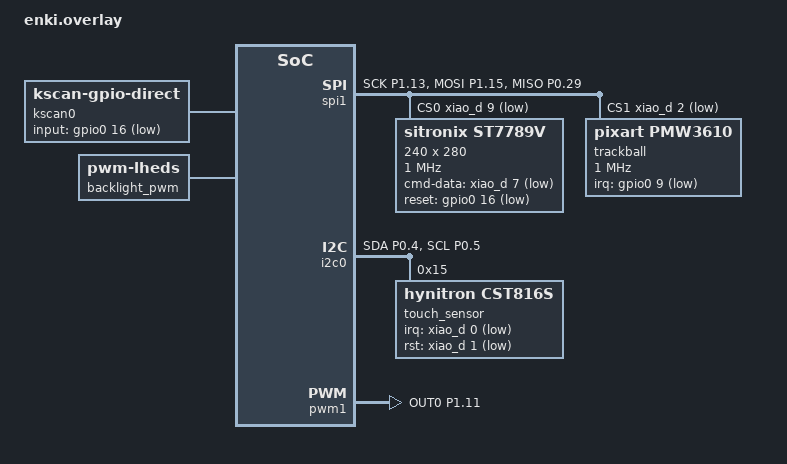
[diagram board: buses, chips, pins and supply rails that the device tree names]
#include <dt-bindings/zmk/matrix_transform.h>
#include <dt-bindings/input/input-event-codes.h>
#include <dt-bindings/pwm/pwm.h>
#include <physical_layouts.dtsi>

// Include input processor modules
#include <input/processors.dtsi>
#include <dt-bindings/zmk/input_transform.h>
#include <zephyr/dt-bindings/input/input-event-codes.h>

#include <behaviors/input_processor_gestures.dtsi>
#include <behaviors/input_processor_absolute_to_relative.dtsi>
#include <mouse-gesture.dtsi>

/ {
    aliases {
        enkibacklightpwm = &enki_backlight_pwm_led;
    };

    chosen {
        zephyr,display = &st7789v;
        zmk,kscan = &kscan0;
        zmk,physical-layout = &default_layout;
    };

    default_layout: default_layout {
        compatible = "zmk,physical-layout";
        display-name = "Enki Counter";
        transform = <&default_transform>;

        keys = <&key_physical_attrs 100 100 0 0 0 0 0>;
    };

    default_transform: keymap_transform_0 {
        compatible = "zmk,matrix-transform";
        columns = <1>;
        rows = <1>;
        map = <RC(0,0)>;
    };

    kscan0: kscan {
        compatible = "zmk,kscan-gpio-direct";
        wakeup-source;
        input-gpios = <&gpio0 16 (GPIO_ACTIVE_LOW | GPIO_PULL_UP)>;
    };

    backlight_pwm: backlight_pwm {
        compatible = "pwm-lheds";
        status = "okay";

        enki_backlight_pwm_led: enki_backlight_pwm_led {
            status = "okay";
            label = "ENKI_BACKLIGHT";
            pwms = <&pwm1 0 PWM_MSEC(10) PWM_POLARITY_INVERTED>;
        };
    };
};

&spi2 {
    status = "disabled";
};

&pinctrl {
    spi1_default: spi1_default {
        group1 {
            psels = <NRF_PSEL(SPIM_SCK, 1, 13)>,
                    <NRF_PSEL(SPIM_MOSI, 1, 15)>,
                    <NRF_PSEL(SPIM_MISO, 0, 29)>;
        };
    };

    spi1_sleep: spi1_sleep {
        group1 {
            psels = <NRF_PSEL(SPIM_SCK, 1, 13)>,
                    <NRF_PSEL(SPIM_MOSI, 1, 15)>,
                    <NRF_PSEL(SPIM_MISO, 0, 29)>;
            low-power-enable;
        };
    };

    pwm1_default: pwm1_default {
        group1 {
            psels = <NRF_PSEL(PWM_OUT0, 1, 11)>;  // Pin 6 (D6) = P1.11 = Backlight PWM
            nordic,invert;
        };
    };

    pwm1_sleep: pwm1_sleep {
        group1 {
            psels = <NRF_PSEL(PWM_OUT0, 1, 11)>;  // Pin 6 (D6) = P1.11 = Backlight PWM
            low-power-enable;
        };
    };

    i2c0_default: i2c0_default {
        group1 {
            psels = <NRF_PSEL(TWIM_SDA, 0, 4)>,
                    <NRF_PSEL(TWIM_SCL, 0, 5)>;
        };
    };

    i2c0_sleep: i2c0_sleep {
        group1 {
            psels = <NRF_PSEL(TWIM_SDA, 0, 4)>,
                    <NRF_PSEL(TWIM_SCL, 0, 5)>;
            low-power-enable;
        };
    };
};

&spi1 {
    status = "okay";
    pinctrl-0 = <&spi1_default>;
    pinctrl-1 = <&spi1_sleep>;
    pinctrl-names = "default", "sleep";
    cs-gpios = <&xiao_d 9 GPIO_ACTIVE_LOW>,
              <&xiao_d 2 GPIO_ACTIVE_LOW>;

    st7789v: st7789v@0 {
        compatible = "sitronix,st7789v";
        spi-max-frequency = <1000000>;
        reg = <0>;
        cmd-data-gpios = <&xiao_d 7 GPIO_ACTIVE_LOW>;
        reset-gpios = <&gpio0 16 GPIO_ACTIVE_LOW>;
        width = <240>;
        height = <280>;
        x-offset = <0>;
        y-offset = <20>;
        vcom = <0x19>;
        gctrl = <0x35>;
        vrhs = <0x12>;
        vdvs = <0x20>;
        mdac = <0x00>;
        gamma = <0x01>;
        colmod = <0x05>;
        lcm = <0x2c>;
        porch-param = [0c 0c 00 33 33];
        cmd2en-param = [5a 69 02 01];
        pwctrl1-param = [a4 a1];
        pvgam-param = [D0 04 0D 11 13 2B 3F 54 4C 18 0D 0B 1F 23];
        nvgam-param = [D0 04 0C 11 13 2C 3F 44 51 2F 1F 1F 20 23];
        ram-param = [00 F0];
        rgb-param = [CD 08 14];nh
    };

    trackball: trackball@1 {
        status = "okay";
        compatible = "pixart,pmw3610";
        reg = <1>;
        spi-max-frequency = <1000000>;
        irq-gpios = <&gpio0 9 (GPIO_ACTIVE_LOW | GPIO_PULL_UP)>;
        cpi = <800>;
        evt-type = <INPUT_EV_REL>;
        x-input-code = <INPUT_REL_X>;
        y-input-code = <INPUT_REL_Y>;
        force-awake;
    };
};

&i2c0 {
    status = "okay";
    pinctrl-0 = <&i2c0_default>;
    pinctrl-1 = <&i2c0_sleep>;
    pinctrl-names = "default", "sleep";

    touch_sensor: glidepoint: cst816s@15 {
        compatible = "hynitron,cst816s";
        reg = <0x15>;
        status = "okay";
        irq-gpios = <&xiao_d 0 (GPIO_ACTIVE_LOW | GPIO_PULL_UP)>;
        rst-gpios = <&xiao_d 1 GPIO_ACTIVE_LOW>;
    };
};

/ {
    touch_listener: touch_listener {
        compatible = "zmk,input-listener";
        device = <&touch_sensor>;
        status = "okay";
        input-processors = <
            &zip_gestures                                                  // Tap detection and trackpad gestures
            &zip_absolute_to_relative                                      // Convert absolute to relative coordinates
            &zip_xy_transform (INPUT_TRANSFORM_XY_SWAP | INPUT_TRANSFORM_Y_INVERT)  // Rotate 90° for display orientation
            &zip_xy_scaler 4 1                                            // 4x scaling for better cursor movement
            // &zip_temp_layer 1 200                                          // Auto-activate layer 1 for 200ms on movement
            &zip_mouse_gesture                                            // Gesture recognition
        >;
    };

    trackball_listener: trackball_listener {
        compatible = "zmk,input-listener";
        device = <&trackball>;
        status = "okay";
        input-processors = <
            &zip_xy_transform (INPUT_TRANSFORM_X_INVERT | INPUT_TRANSFORM_Y_INVERT)
            &zip_temp_layer 1 200
        >;
    };
};

// PWM1 configuration for backlight (Pin 6 = P1.11)
&pwm1 {
    status = "okay";
    pinctrl-0 = <&pwm1_default>;
    pinctrl-1 = <&pwm1_sleep>;
    pinctrl-names = "default", "sleep";
};
